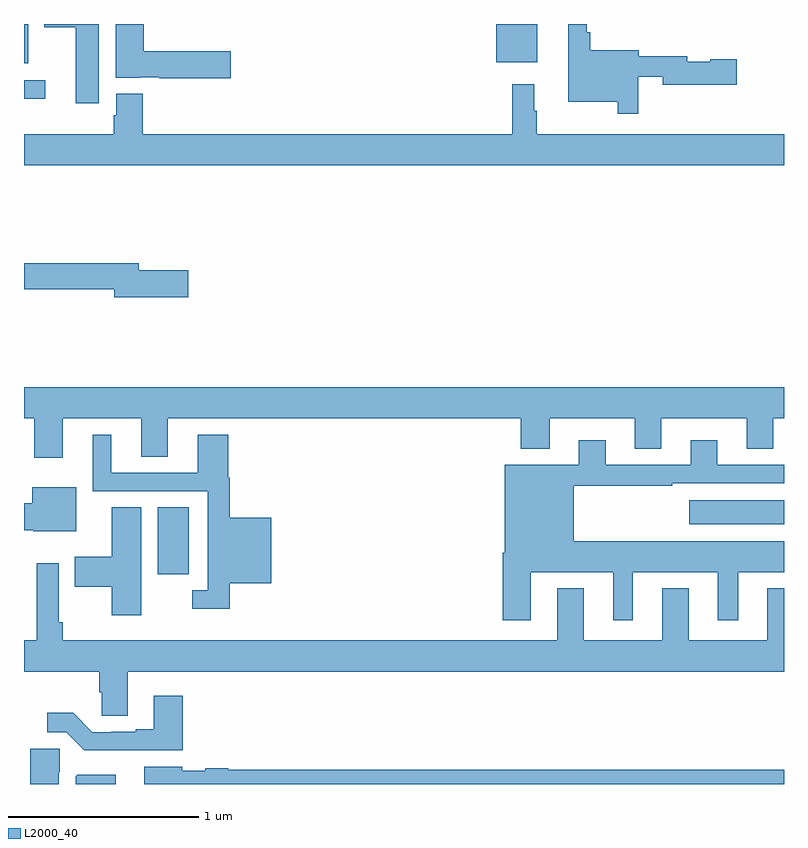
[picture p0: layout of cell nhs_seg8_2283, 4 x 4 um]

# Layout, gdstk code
import gdstk
lib = gdstk.Library(unit=1e-6, precision=1e-09)
def R(c, l, rs):  # rectangles x0, y0, x1, y1
    for r in rs: c.add(gdstk.rectangle(r[:2], r[2:], *l))
def P(c, l, *ps):  # polygons
    for p in ps: c.add(gdstk.Polygon(p, *l))
L2000_40 = (2000, 40)

nhs_seg8_2283 = lib.new_cell('nhs_seg8_2283')
R(nhs_seg8_2283, L2000_40, [(255.704,1125.003,255.868,1125.356), (258.501,1125.266,259,1125.394), (255,1127.507,255.112,1127.604), (255,1127.693,255.022,1127.9), (257.486,1127.699,257.701,1127.9)])
P(nhs_seg8_2283, L2000_40, [(255.394,1127.9),(255.107,1127.9),(255.107,1127.882),(255.272,1127.882),(255.272,1127.484),(255.394,1127.484)],
  [(256.087,1127.756),(255.629,1127.756),(255.629,1127.9),(255.482,1127.9),(255.482,1127.618),(255.612,1127.618),(255.612,1127.621),(255.712,1127.621),(255.712,1127.614),(256.087,1127.614)],
  [(258.234,1127.622),(258.362,1127.622),(258.362,1127.579),(258.751,1127.579),(258.751,1127.714),(258.612,1127.714),(258.612,1127.701),(258.49,1127.701),(258.49,1127.731),(258.235,1127.731),(258.235,1127.761),(257.981,1127.761),(257.981,1127.857),(257.961,1127.857),(257.961,1127.9),(257.864,1127.9),(257.864,1127.492),(258.126,1127.492),(258.126,1127.427),(258.234,1127.427)],
  [(259,1127.32),(257.698,1127.32),(257.698,1127.444),(257.686,1127.444),(257.686,1127.584),(257.569,1127.584),(257.569,1127.32),(255.626,1127.32),(255.626,1127.533),(255.485,1127.533),(255.485,1127.421),(255.473,1127.421),(255.473,1127.32),(255,1127.32),(255,1127.156),(259,1127.156)],
  [(255.865,1126.604),(255.604,1126.604),(255.604,1126.64),(255,1126.64),(255,1126.504),(255.476,1126.504),(255.476,1126.462),(255.865,1126.462)],
  [(255.205,1125.824),(255.617,1125.824),(255.617,1125.622),(255.757,1125.622),(255.757,1125.824),(257.615,1125.824),(257.615,1125.665),(257.767,1125.665),(257.767,1125.824),(258.215,1125.824),(258.215,1125.664),(258.355,1125.664),(258.355,1125.824),(258.803,1125.824),(258.803,1125.664),(258.943,1125.664),(258.943,1125.824),(259,1125.824),(259,1125.988),(255,1125.988),(255,1125.824),(255.053,1125.824),(255.053,1125.618),(255.205,1125.618)],
  [(256.082,1124.957),(256.3,1124.957),(256.3,1125.301),(256.082,1125.301),(256.082,1125.512),(256.076,1125.512),(256.076,1125.739),(255.914,1125.739),(255.914,1125.537),(255.46,1125.537),(255.46,1125.739),(255.362,1125.739),(255.362,1125.441),(255.966,1125.441),(255.966,1124.919),(255.885,1124.919),(255.885,1124.822),(256.082,1124.822)],
  [(257.668,1125.014),(258.101,1125.014),(258.101,1124.763),(258.205,1124.763),(258.205,1125.014),(258.65,1125.014),(258.65,1124.763),(258.76,1124.763),(258.76,1125.014),(259,1125.014),(259,1125.178),(257.893,1125.178),(257.893,1125.471),(258.413,1125.471),(258.413,1125.483),(259,1125.483),(259,1125.579),(258.649,1125.579),(258.649,1125.709),(258.509,1125.709),(258.509,1125.579),(258.061,1125.579),(258.061,1125.709),(257.921,1125.709),(257.921,1125.58),(257.531,1125.58),(257.531,1125.118),(257.519,1125.118),(257.519,1124.763),(257.668,1124.763)],
  [(255.274,1125.463),(255.044,1125.463),(255.044,1125.378),(255,1125.378),(255,1125.236),(255.048,1125.236),(255.048,1125.23),(255.274,1125.23)],
  [(255.616,1125.356),(255.461,1125.356),(255.461,1125.097),(255.268,1125.097),(255.268,1124.939),(255.461,1124.939),(255.461,1124.787),(255.616,1124.787)],
  [(255.547,1124.492),(259,1124.492),(259,1124.929),(258.911,1124.929),(258.911,1124.656),(258.499,1124.656),(258.499,1124.929),(258.359,1124.929),(258.359,1124.656),(257.947,1124.656),(257.947,1124.929),(257.807,1124.929),(257.807,1124.656),(255.203,1124.656),(255.203,1124.752),(255.183,1124.752),(255.183,1125.061),(255.067,1125.061),(255.067,1124.656),(255,1124.656),(255,1124.492),(255.395,1124.492),(255.395,1124.382),(255.408,1124.382),(255.408,1124.26),(255.547,1124.26)],
  [(255.836,1124.365),(255.683,1124.365),(255.683,1124.188),(255.587,1124.188),(255.587,1124.175),(255.46,1124.175),(255.46,1124.172),(255.36,1124.172),(255.258,1124.275),(255.123,1124.275),(255.123,1124.172),(255.222,1124.172),(255.317,1124.078),(255.836,1124.078)],
  [(255.184,1123.962),(255.188,1123.962),(255.188,1124.085),(255.032,1124.085),(255.032,1123.9),(255.184,1123.9)],
  [(259,1123.976),(256.074,1123.976),(256.074,1123.984),(255.954,1123.984),(255.954,1123.969),(255.834,1123.969),(255.834,1123.99),(255.632,1123.99),(255.632,1123.9),(259,1123.9)],
  [(255.484,1123.948),(255.28,1123.948),(255.272,1123.94),(255.272,1123.9),(255.484,1123.9)])

lib.write_gds('nhs_seg8_2283.gds')
